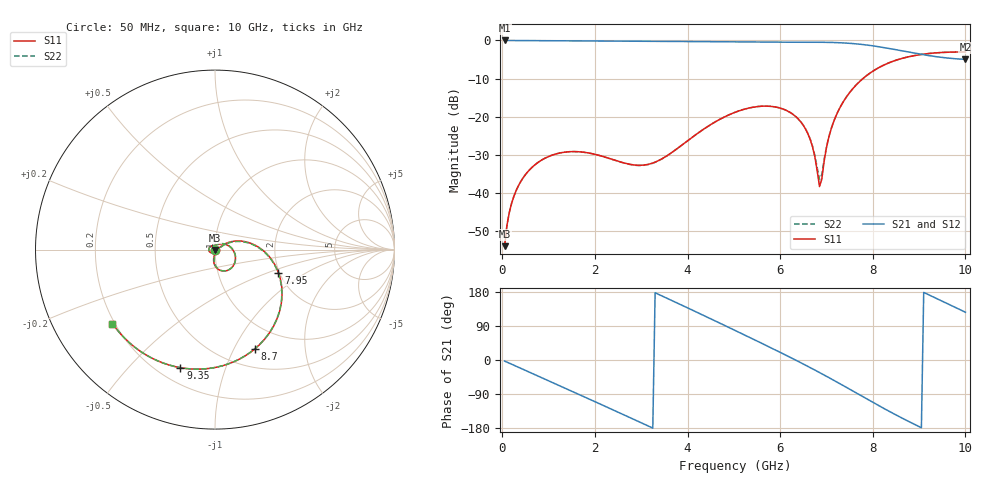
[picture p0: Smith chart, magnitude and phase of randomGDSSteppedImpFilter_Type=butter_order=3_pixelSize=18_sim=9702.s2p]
! freq	dB(S11)	phase(S11)	dB(S12)	phase(S12)
!  dB(S21)	phase(S21)	dB(S22)	phase(S22)
!S-par simulation data
#  GHz  S  DB  R 50
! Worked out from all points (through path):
!   200 points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, 50 MHz to 10 GHz, reference 50 ohm
!   highest |S21| = 0.00 dB at 50 MHz (marker M1); lowest = -5.0 dB at 10 GHz (marker M2)
!   group delay of S21, straight-line fit = 166 ps
!   lowest |S11| = -54.0 dB at 50 MHz (marker M3), VSWR 1.00, Z = 50 - j0.194 ohm
!   |S11| at or under -10 dB: start of sweep to 7.789 GHz
!   |S22| runs from -54.1 to -3.0 dB; largest |S21 - S12| = 0
!   S11 on the Smith chart (normalised r, x): 50 MHz: 1.00, -0.00; 7.95 GHz: 1.98, -0.59; 8.7 GHz: 0.71, -1.22; 9.35 GHz: 0.29, -0.71; 10 GHz: 0.19, -0.31
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0.05  -54.05 -77.1  -0.00 -2.8  -0.00 -2.8  -54.05 -77.1
0.2  -42.83 -97.2  -0.02 -11.1  -0.02 -11.1  -42.83 -97.2
0.55  -34.51 -120.4  -0.04 -30.2  -0.04 -30.2  -34.51 -120.1
1.2  -29.68 -158.4  -0.08 -65.9  -0.08 -65.9  -29.68 -157.8
1.75  -29.36 169.7  -0.12 -96.1  -0.12 -96.1  -29.36 170.9
2.65  -32.25 115.1  -0.18 -146.0  -0.18 -146.0  -32.29 118.1
3.4  -31.40 71.8  -0.23 171.8  -0.23 171.8  -31.46 75.5
4.3  -23.70 26.3  -0.31 120.4  -0.31 120.4  -23.71 28.2
5.05  -18.77 -14.4  -0.40 76.7  -0.40 76.7  -18.76 -13.2
5.55  -17.33 -42.4  -0.45 47.2  -0.45 47.2  -17.32 -41.3
6.15  -18.49 -76.0  -0.47 11.1  -0.47 11.1  -18.47 -74.8
6.5  -22.31 -93.9  -0.47 -10.6  -0.47 -10.6  -22.26 -91.9
6.7  -28.00 -98.1  -0.47 -23.3  -0.47 -23.3  -27.80 -94.2
6.85  -38.39 -49.9  -0.48 -33.1  -0.48 -33.1  -36.56 -47.0
7.05  -25.47 30.0  -0.51 -46.3  -0.51 -46.3  -25.35 27.0
7.2  -19.99 26.1  -0.56 -56.4  -0.56 -56.4  -19.96 24.4
7.55  -12.94 6.2  -0.80 -80.5  -0.80 -80.5  -12.94 5.4
7.95  -8.49 -19.9  -1.33 -108.2  -1.33 -108.2  -8.49 -20.4
8.35  -5.87 -46.0  -2.11 -135.2  -2.11 -135.2  -5.87 -46.3
8.7  -4.50 -68.0  -2.90 -157.5  -2.90 -157.5  -4.50 -68.2
9.35  -3.28 -106.3  -4.23 163.8  -4.23 163.8  -3.28 -106.4
10  -3.04 -144.2  -4.98 126.1  -4.98 126.1  -3.04 -144.2
